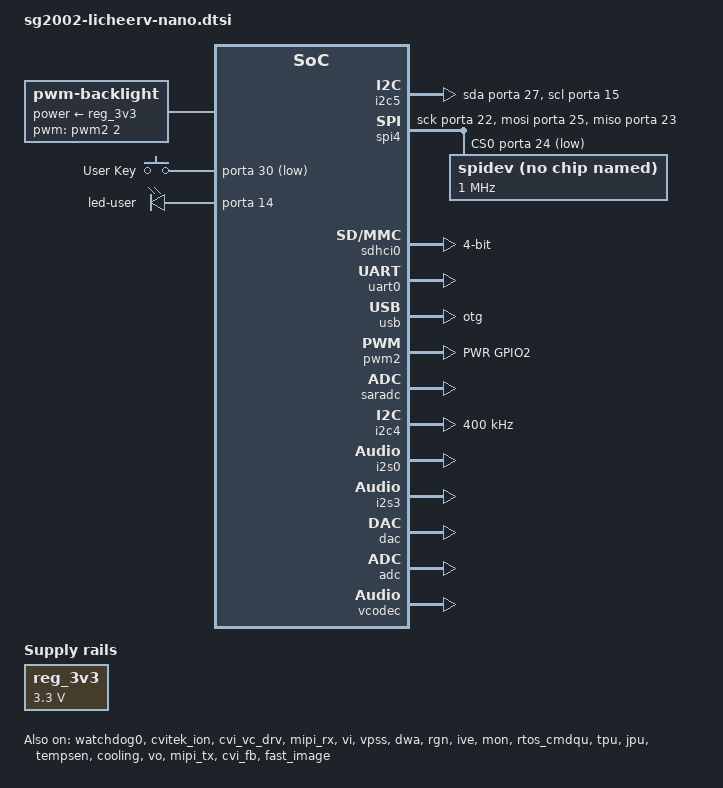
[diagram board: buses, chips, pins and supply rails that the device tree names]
// SPDX-License-Identifier: (GPL-2.0 OR MIT)
/*
 * Shared description of the Sipeed LicheeRV Nano (SG2002, QFN package).
 *
 * The four board variants differ only in the wired connectivity:
 *
 *   B   - base board, no Ethernet, no WiFi/BT
 *   E   - base board + 100M RJ45 (internal ePHY, ETH_TX/RX pads)
 *   W   - base board + WiFi6/BT5 (SDIO WiFi, UART Bluetooth)
 *   WE  - base board + Ethernet + WiFi/BT
 *
 * (Sipeed wiki, LicheeRV Nano introduction, "Version Comparison".)
 * The common parts live here; sg2002-licheerv-nano-eth.dtsi and
 * sg2002-licheerv-nano-wifi.dtsi are included by the variants that have
 * the corresponding hardware, and must not be included by the others.
 *
 * The boards ship with the Sipeed fip (BL2 + OpenSBI + U-Boot).  That fip
 * selects the MIPI panel from "panel=" in uEnv.txt and sets up the DSI PLL,
 * the panel registers and the camera sensor; the vo/mipi_tx driver inherits
 * that, as on the vendor kernel.  The same fip sets the fixed DRAM layout
 * below and muxes the touch/reset lines, which this DT re-asserts.
 */

#include <dt-bindings/gpio/gpio.h>
#include <dt-bindings/input/input.h>
#include <dt-bindings/interrupt-controller/irq.h>
#include "sg2002.dtsi"
/*
 * The multimedia blocks have no mainline driver: they are described for the
 * Sophgo osdrv modules ported in-tree (drivers/staging/sophgo).
 */
#include "sg2002-multimedia.dtsi"

/ {
	aliases {
		gpio0 = &gpio0;
		gpio1 = &gpio1;
		gpio2 = &gpio2;
		gpio3 = &gpio3;
		gpio4 = &gpio4;
		mmc0 = &sdhci0;
		mmc1 = &sdhci1;
		serial0 = &uart0;
		serial1 = &uart1;
		serial2 = &uart2;
		serial3 = &uart3;
		serial4 = &uart4;
	};

	chosen {
		stdout-path = "serial0:115200n8";
	};

	/*
	 * The buffer layout is the one the Sipeed fip/U-Boot sets up and the
	 * C906L FreeRTOS image expects.  These are the exact numbers of the
	 * board memmap (build/boards/sg200x/sg2002_licheervnano_sd/memmap.py):
	 * DRAM 256 MiB, FreeRTOS 2 MiB at the top, ION 105 MiB right below it
	 * and the framebuffer (boot logo) below ION, at fixed addresses.
	 * None of them is no-map: the vendor ION heap and the osdrv modules
	 * use the linear map of these buffers.
	 */
	reserved-memory {
		#address-cells = <1>;
		#size-cells = <1>;
		ranges;

		/* 8000 KiB boot logo / framebuffer, directly below ION. */
		fb_reserved: framebuffer@88d30000 {
			reg = <0x88d30000 0x7d0000>;
		};

		/* 105 MiB of multimedia buffers (frames, bitstreams, NPU). */
		ion_reserved: ion@89500000 {
			reg = <0x89500000 0x6900000>;
		};

		/* 2 MiB for the C906L FreeRTOS image, at the top of DRAM. */
		rtos_image: rtos@8fe00000 {
			reg = <0x8fe00000 0x200000>;
		};
	};

	reg_3v3: regulator-3v3 {
		compatible = "regulator-fixed";
		regulator-name = "3v3";
		regulator-min-microvolt = <3300000>;
		regulator-max-microvolt = <3300000>;
		regulator-always-on;
	};

	/*
	 * The 70415 board drives the backlight with PWM_10 on the RTC-domain
	 * pad PWR_GPIO2 (bank E line 2, function 4); pwm2 channel 2 is
	 * PWM_10.  The vendor's board init leaves this to userspace, but a
	 * real PWM driver can let the kernel mux and drive it.
	 */
	backlight: backlight {
		compatible = "pwm-backlight";
		pwms = <&pwm2 2 50000 0>;
		brightness-levels = <0 2 4 8 16 32 64 128 255>;
		default-brightness-level = <7>;
		power-supply = <&reg_3v3>;
		status = "okay";
	};

	gpio-keys {
		compatible = "gpio-keys";
		status = "okay";

		key-user {
			label = "User Key";
			linux,code = <KEY_DISPLAYTOGGLE>;
			debounce-interval = <1>;
			gpios = <&porta 30 GPIO_ACTIVE_LOW>;
		};
	};

	leds {
		compatible = "gpio-leds";
		status = "okay";

		led-user {
			gpios = <&porta 14 GPIO_ACTIVE_HIGH>;
			linux,default-trigger = "activity";
		};
	};

	i2c5: i2c-gpio {
		compatible = "i2c-gpio";
		scl-gpios = <&porta 15 (GPIO_ACTIVE_HIGH | GPIO_OPEN_DRAIN)>;
		sda-gpios = <&porta 27 (GPIO_ACTIVE_HIGH | GPIO_OPEN_DRAIN)>;
		i2c-gpio,delay-us = <5>;
		pinctrl-0 = <&i2c5_cfg>;
		pinctrl-names = "default";
		status = "okay";
	};

	spi4: spi-gpio {
		compatible = "spi-gpio";
		#address-cells = <1>;
		#size-cells = <0>;
		sck-gpios = <&porta 22 GPIO_ACTIVE_HIGH>;
		miso-gpios = <&porta 23 GPIO_ACTIVE_HIGH>;
		mosi-gpios = <&porta 25 GPIO_ACTIVE_HIGH>;
		cs-gpios = <&porta 24 GPIO_ACTIVE_LOW>;
		num-chipselects = <1>;
		pinctrl-0 = <&spi4_cfg>;
		pinctrl-names = "default";
		status = "okay";

		spidev@0 {
			compatible = "rohm,dh2228fv";
			reg = <0>;
			spi-max-frequency = <1000000>;
		};
	};

	/*
	 * The internal codecs are clocked from I2S3's MCLK output (I2S3 is the
	 * TDM controller wired to the DAC, and the ADC takes its MCLK from it).
	 */
	sound {
		compatible = "simple-audio-card";
		simple-audio-card,name = "licheerv-nano";
		status = "okay";

		simple-audio-card,dai-link@0 {
			link-name = "dac";
			format = "i2s";

			cpu {
				sound-dai = <&i2s3>;
			};

			codec {
				sound-dai = <&dac>;
			};
		};

		simple-audio-card,dai-link@1 {
			link-name = "adc";
			format = "i2s";

			cpu {
				sound-dai = <&i2s0>;
			};

			codec {
				sound-dai = <&adc>;
			};
		};
	};
};

&osc {
	clock-frequency = <25000000>;
};

&pinctrl {
	uart0_cfg: uart0-cfg {
		uart0-pins {
			pinmux = <PINMUX(PIN_UART0_TX, 0)>,
				 <PINMUX(PIN_UART0_RX, 0)>;
			bias-pull-up;
			drive-strength-microamp = <10800>;
			power-source = <3300>;
		};
	};

	sdhci0_cfg: sdhci0-cfg {
		sdhci0-clk-pins {
			pinmux = <PINMUX(PIN_SD0_CLK, 0)>;
			bias-pull-up;
			drive-strength-microamp = <16100>;
			power-source = <3300>;
		};

		sdhci0-cmd-pins {
			pinmux = <PINMUX(PIN_SD0_CMD, 0)>;
			bias-pull-up;
			drive-strength-microamp = <10800>;
			power-source = <3300>;
		};

		sdhci0-data-pins {
			pinmux = <PINMUX(PIN_SD0_D0, 0)>,
				 <PINMUX(PIN_SD0_D1, 0)>,
				 <PINMUX(PIN_SD0_D2, 0)>,
				 <PINMUX(PIN_SD0_D3, 0)>;
			bias-pull-up;
			drive-strength-microamp = <10800>;
			power-source = <3300>;
		};

		sdhci0-cd-pins {
			pinmux = <PINMUX(PIN_SD0_CD, 0)>;
			bias-pull-up;
			drive-strength-microamp = <10800>;
			power-source = <3300>;
		};
	};

	/*
	 * I2C4 is the camera/touch bus on PWR_WAKEUP0/PWR_BUTTON1 (the fip
	 * muxes them to function 5).  The touch reset/IRQ lines are the RTC
	 * pads PWR_SEQ1/PWR_SEQ2 used as GPIOE3/GPIOE4 (function 3), also as
	 * the fip leaves them; the touch nodes below own those lines.
	 */
	i2c4_cfg: i2c4-cfg {
		i2c4-pins {
			pinmux = <PINMUX(PIN_PWR_WAKEUP0, 5)>,
				 <PINMUX(PIN_PWR_BUTTON1, 5)>;
			bias-pull-up;
			drive-strength-microamp = <7800>;
			power-source = <1800>;
		};

		touch-gpio-pins {
			pinmux = <PINMUX(PIN_PWR_SEQ1, 3)>,
				 <PINMUX(PIN_PWR_SEQ2, 3)>;
			power-source = <1800>;
		};
	};

	backlight_pins: backlight-pins {
		backlight-pin {
			pinmux = <PINMUX(PIN_PWR_GPIO2, 4)>;
			power-source = <1800>;
		};
	};

	/*
	 * The 28-pin headers expose a bit-banged I2C bus and a bit-banged SPI
	 * bus (vendor DT "i2c5@gpio"/"spi4@gpio", muxed as GPIO by the fip).
	 */
	i2c5_cfg: i2c5-cfg {
		i2c5-pins {
			pinmux = <PINMUX(PIN_SPK_EN, 3)>,
				 <PINMUX(PIN_EMMC_DAT3, 3)>;
			bias-pull-up;
			drive-strength-microamp = <10800>;
			power-source = <3300>;
		};
	};

	spi4_cfg: spi4-cfg {
		spi4-pins {
			pinmux = <PINMUX(PIN_EMMC_CLK, 3)>,
				 <PINMUX(PIN_EMMC_DAT0, 3)>,
				 <PINMUX(PIN_EMMC_CMD, 3)>,
				 <PINMUX(PIN_EMMC_DAT1, 3)>;
			drive-strength-microamp = <10800>;
			power-source = <3300>;
		};
	};
};

&sdhci0 {
	pinctrl-0 = <&sdhci0_cfg>;
	pinctrl-names = "default";
	status = "okay";
	bus-width = <4>;
	no-1-8-v;
	no-mmc;
	no-sdio;
	disable-wp;
};

&uart0 {
	pinctrl-0 = <&uart0_cfg>;
	pinctrl-names = "default";
	status = "okay";
};

&usb {
	dr_mode = "otg";
	status = "okay";
};

&pwm2 {
	pinctrl-0 = <&backlight_pins>;
	pinctrl-names = "default";
	status = "okay";
};

&watchdog0 {
	status = "okay";
};

/* Audio I2S and the osdrv stacks use the AXI DMA controller. */
&dmac {
	status = "okay";
};

/* ADC1 (and the other channels) on the 28-pin header. */
&saradc {
	status = "okay";
};

/* Restart and power-off through the RTC block (drivers/power/reset). */
&soc {
	restart@5025000 {
		compatible = "cvitek,restart";
		reg = <0x05025000 0x2000>;
	};
};

&i2c4 {
	pinctrl-0 = <&i2c4_cfg>;
	pinctrl-names = "default";
	status = "okay";
	clock-frequency = <400000>;

	/*
	 * Optional panels share the reset and interrupt lines. Enable only the
	 * fitted controller with a touch overlay, matching the fip's panel=:
	 * GT911: zct2133v1/mtd700920b; CST7xx: st7701_lct024bsi20;
	 * CST3240: st7701_hd228001c31. Probing absent controllers could drive
	 * the control lines of the fitted panel with the wrong protocol.
	 */
	touchscreen@14 {
		compatible = "goodix,gt911";
		reg = <0x14>;
		interrupt-parent = <&porte>;
		interrupts = <3 IRQ_TYPE_EDGE_FALLING>;
		irq-gpios = <&porte 3 GPIO_ACTIVE_HIGH>;
		reset-gpios = <&porte 4 GPIO_ACTIVE_LOW>;
		touchscreen-size-x = <480>;
		touchscreen-size-y = <640>;
		status = "disabled";
	};

	touchscreen@15 {
		compatible = "hyn,7xx";
		reg = <0x15>;
		interrupt-parent = <&porte>;
		interrupts = <3 IRQ_TYPE_EDGE_FALLING>;
		reset-gpios = <&porte 4 GPIO_ACTIVE_LOW>;
		touchscreen-size-x = <480>;
		touchscreen-size-y = <640>;
		touchscreen-inverted-x;
		touchscreen-inverted-y;
		status = "disabled";
	};

	touchscreen@5a {
		compatible = "hyn,3240";
		reg = <0x5a>;
		interrupt-parent = <&porte>;
		interrupts = <3 IRQ_TYPE_EDGE_FALLING>;
		reset-gpios = <&porte 4 GPIO_ACTIVE_LOW>;
		touchscreen-size-x = <368>;
		touchscreen-size-y = <552>;
		status = "disabled";
	};
};

/* --- multimedia: the osdrv stack ---------------------------------------- */

&i2s0 {
	status = "okay";
};

&i2s3 {
	status = "okay";
};

&dac {
	status = "okay";
};

&adc {
	clocks = <&clk CLK_SDMA_AUD3>;
	clock-names = "mclk";
	sophgo,mclk-source = <&i2s3>;
	status = "okay";
};

&cvitek_ion {
	status = "okay";
};

&cvi_vc_drv {
	status = "okay";
};

&mipi_rx {
	/* Camera module reset line: bank E line 1 (vendor: snsr-reset). */
	snsr-reset-gpios = <&porte 1 GPIO_ACTIVE_LOW>;
	status = "okay";
};

&vi {
	status = "okay";
};

&vpss {
	status = "okay";
};

&dwa {
	status = "okay";
};

&rgn {
	status = "okay";
};

&ive {
	status = "okay";
};

&mon {
	status = "okay";
};

&rtos_cmdqu {
	status = "okay";
};

&tpu {
	status = "okay";
};

&vcodec {
	status = "okay";
};

&jpu {
	status = "okay";
};

&tempsen {
	status = "okay";
};

&cooling {
	status = "okay";
};

&soc_thermal {
	status = "okay";
};

/*
 * Display: the panel timing, the DSI PLL and the panel's own registers are
 * set up by the Sipeed fip from "panel=" in uEnv.txt, and the vo/mipi_tx
 * drivers inherit that, as on the vendor kernel.  Only the panel reset line
 * (bank E line 0) and the backlight PWM pin are ours.
 */
&vo {
	status = "okay";
};

&mipi_tx {
	reset-gpio = <&porte 0 GPIO_ACTIVE_LOW>;
	status = "okay";
};

&soc {
	cvi_fb: framebuffer@a088000 {
		compatible = "cvitek,fb";
		reg = <0x0a088000 0x1000>;
		reg-names = "disp";
		memory-region = <&fb_reserved>;
		status = "okay";
	};
};

/* The FreeRTOS image region (loaded by the fip) and the ION heap. */
&soc {
	fast_image: rtos-image@8fe00000 {
		compatible = "cvitek,rtos_image";
		reg = <0x8fe00000 0x200000>;
		reg-names = "rtos_region";
		/*
		 * The first 22 MiB of the ION heap are the C906L FreeRTOS
		 * buffers (H26X bitstream 2 MiB + encoder 0 + ISP 20 MiB, see
		 * the board memmap.py).  The cvitek carveout heap must not
		 * allocate there before the RTOS has run.
		 */
		ion-size = <0x1600000>;
		status = "okay";
	};
};
